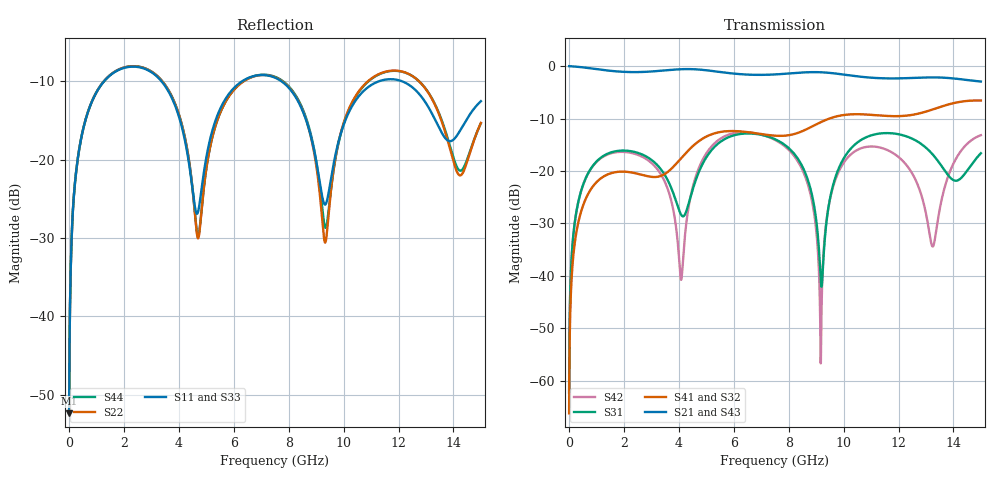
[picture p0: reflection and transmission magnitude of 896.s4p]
! Created with skrf 1.8.0 (http://scikit-rf.org).
# GHz S RI R 50.0
!freq ReS11 ImS11 ReS12 ImS12 ReS13 ImS13
! ReS14 ImS14
! ReS21 ImS21 ReS22 ImS22 ReS23 ImS23
! ReS24 ImS24
! ReS31 ImS31 ReS32 ImS32 ReS33 ImS33
! ReS34 ImS34
! ReS41 ImS41 ReS42 ImS42 ReS43 ImS43
! ReS44 ImS44
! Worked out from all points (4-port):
!   2499 points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, 5 MHz to 15 GHz, reference 50 ohm
!   strongest paths, dB at 5 MHz, 3.476 GHz, 7.19 GHz, 11.1 GHz, 15 GHz:
!     S21: 0.0, -0.8, -1.7, -2.2, -3.0
!     S43: 0.0, -0.8, -1.7, -2.2, -2.9
!     S41: -66.2, -20.6, -13.1, -9.3, -6.6
!     S32: -66.2, -20.6, -13.1, -9.3, -6.5
!     S31: -62.2, -20.7, -13.3, -13.1, -16.6
!     S42: -62.2, -21.9, -13.4, -15.3, -13.2
!   lowest |S11| = -52.4 dB at 5 MHz (marker M1), VSWR 1.00, Z = 50.2 + j0.146 ohm
!   |S11| at or under -10 dB: 3.371 GHz to 6.302 GHz (2.931 GHz wide, 60.6 % of centre); 7.739 GHz to 11.28 GHz (3.545 GHz wide, 37.3 % of centre); 12.13 GHz to end of sweep (the widest 3 of 4)
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0.005  0.00191 0.00145  0.998 -0.00373  9.74e-05 0.000766  -9.45e-05 -0.00048
       0.998 -0.00373  0.00191 0.00145  -9.45e-05 -0.00048  9.72e-05 0.000766
       9.74e-05 0.000766  -9.45e-05 -0.00048  0.00191 0.00145  0.998 -0.00373
       -9.45e-05 -0.00048  9.72e-05 0.000766  0.998 -0.00373  0.00191 0.00145
1.369321  0.2789 0.1749  0.5279 -0.741  0.1344 0.0533  -0.0916 -0.00284
          0.5279 -0.741  0.2814 0.1731  -0.0916 -0.00293  0.1274 0.0633
          0.1344 0.0533  -0.0916 -0.00293  0.279 0.1749  0.5278 -0.741
          -0.0916 -0.00284  0.1274 0.0633  0.5278 -0.741  0.2814 0.1732
4.745727  0.048 0.0175  -0.9263 -0.0139  -0.00987 0.0996  0.00455 0.1936
          -0.9263 -0.0139  0.0329 0.00845  0.00308 0.1937  0.0322 0.1043
          -0.00987 0.0996  0.00308 0.1937  0.0472 0.0176  -0.9263 -0.0137
          0.00455 0.1936  0.0322 0.1043  -0.9263 -0.0137  0.0337 0.00828
8.090871  0.2335 -0.147  0.4144 0.7459  0.0937 -0.1258  0.1624 -0.1505
          0.4144 0.7459  0.2304 -0.1575  0.1641 -0.1468  0.0977 -0.1143
          0.0937 -0.1258  0.1641 -0.1468  0.2354 -0.1518  0.4139 0.745
          0.1624 -0.1505  0.0977 -0.1143  0.4139 0.745  0.2346 -0.1564
9.172572  0.055 -0.0346  0.831 0.2679  0.00648 -0.006  0.0771 -0.2818
          0.831 0.2679  0.0342 -0.0386  0.0828 -0.2801  -0.00132 0.000671
          0.00648 -0.006  0.0828 -0.2801  0.0509 -0.0409  0.8307 0.2682
          0.0771 -0.2818  -0.00132 0.000671  0.8307 0.2682  0.0414 -0.0417
10.18549  0.1484 0.1335  0.7583 -0.3062  0.144 0.056  -0.1673 -0.3024
          0.7583 -0.3062  0.138 0.1571  -0.1616 -0.3058  0.1096 0.0828
          0.144 0.056  -0.1616 -0.3058  0.1414 0.1328  0.7588 -0.307
          -0.1673 -0.3024  0.1096 0.0828  0.7588 -0.307  0.1426 0.1495
15  0.2223 0.0797  -0.6738 0.2301  0.1249 0.0787  0.207 0.4223
    -0.6738 0.2301  0.1421 0.096  0.1965 0.4284  0.1734 0.1342
    0.1249 0.0787  0.1965 0.4284  0.2155 0.0812  -0.6732 0.2344
    0.207 0.4223  0.1734 0.1342  -0.6732 0.2344  0.1471 0.0866
